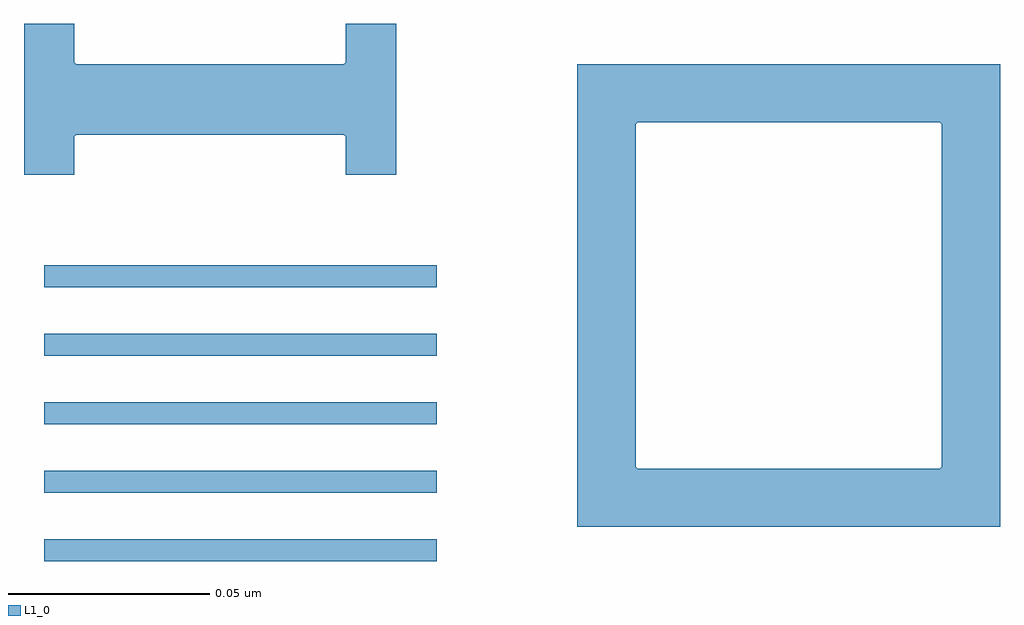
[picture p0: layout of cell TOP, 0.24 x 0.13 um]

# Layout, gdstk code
import gdstk
lib = gdstk.Library(unit=1e-6, precision=1e-10)
def R(c, l, rs):  # rectangles x0, y0, x1, y1
    for r in rs: c.add(gdstk.rectangle(r[:2], r[2:], *l))
def P(c, l, *ps):  # polygons
    for p in ps: c.add(gdstk.Polygon(p, *l))
L1_0 = (1, 0)

p00000 = lib.new_cell('P00000')
R(p00000, L1_0, [(0.0175,0.036,0.115,0.0415)])

p00001 = lib.new_cell('P00001')
R(p00001, L1_0, [(0.0175,0.053,0.115,0.0585)])

p00002 = lib.new_cell('P00002')
R(p00002, L1_0, [(0.0175,0.07,0.115,0.0755)])

p00003 = lib.new_cell('P00003')
R(p00003, L1_0, [(0.0175,0.087,0.115,0.0925)])

p00004 = lib.new_cell('P00004')
R(p00004, L1_0, [(0.0175,0.104,0.115,0.1095)])

p00005 = lib.new_cell('P00005')
P(p00005, L1_0, [(0.255,0.1595),(0.15,0.1595),(0.15,0.0595),(0.1645,0.0595),(0.1645,0.1445),(0.165,0.145),(0.24,0.145),(0.2405,0.1445),(0.2405,0.0595),(0.24,0.059),(0.165,0.059),(0.1645,0.0595),(0.15,0.0595),(0.15,0.0445),(0.255,0.0445)])

p00006 = lib.new_cell('P00006')
P(p00006, L1_0, [(0.0125,0.1695),(0.0125,0.132),(0.025,0.132),(0.025,0.1415),(0.0255,0.142),(0.092,0.142),(0.0925,0.1415),(0.0925,0.132),(0.105,0.132),(0.105,0.1695),(0.0925,0.1695),(0.0925,0.16),(0.092,0.1595),(0.0255,0.1595),(0.025,0.16),(0.025,0.1695)])

top = lib.new_cell('TOP')
top.add(gdstk.Reference(p00000, (0,0)))
top.add(gdstk.Reference(p00001, (0,0)))
top.add(gdstk.Reference(p00002, (0,0)))
top.add(gdstk.Reference(p00003, (0,0)))
top.add(gdstk.Reference(p00004, (0,0)))
top.add(gdstk.Reference(p00005, (0,0)))
top.add(gdstk.Reference(p00006, (0,0)))

lib.write_gds('TOP.gds')
